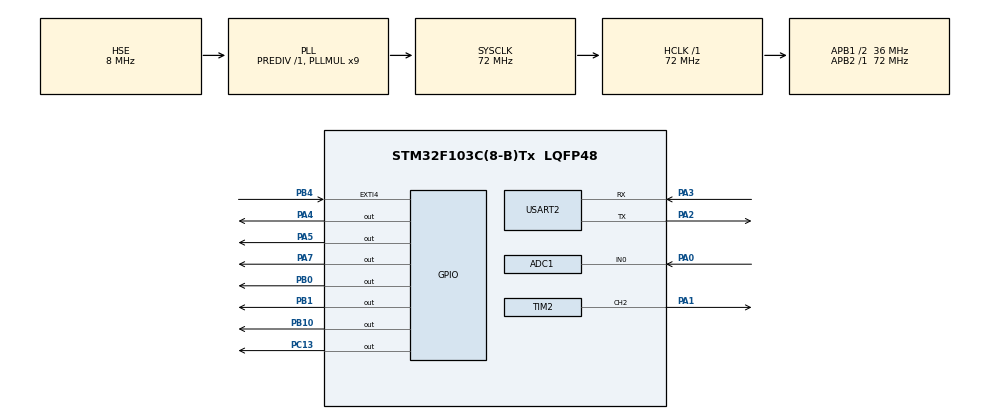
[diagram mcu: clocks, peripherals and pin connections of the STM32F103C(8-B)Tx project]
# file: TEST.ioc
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ADC1.Channel-1\#ChannelRegularConversion=ADC_CHANNEL_0
ADC1.NbrOfConversionFlag=1
ADC1.Rank-1\#ChannelRegularConversion=1
ADC1.SamplingTime-1\#ChannelRegularConversion=ADC_SAMPLETIME_13CYCLES_5
ADC1.master=1
Dma.ADC1.0.Direction=DMA_PERIPH_TO_MEMORY
Dma.ADC1.0.Instance=DMA1_Channel1
Dma.ADC1.0.MemDataAlignment=DMA_MDATAALIGN_HALFWORD
Dma.ADC1.0.MemInc=DMA_MINC_ENABLE
Dma.ADC1.0.Mode=DMA_NORMAL
Dma.ADC1.0.PeriphDataAlignment=DMA_PDATAALIGN_HALFWORD
Dma.ADC1.0.PeriphInc=DMA_PINC_DISABLE
Dma.ADC1.0.Priority=DMA_PRIORITY_HIGH
Dma.Request0=ADC1
Mcu.Family=STM32F1
Mcu.Name=STM32F103C(8-B)Tx
Mcu.Package=LQFP48
NVIC.DMA1_Channel1_IRQn=true\:0\:0\:false\:false\:true\:false\:true
NVIC.EXTI4_IRQn=true\:1\:0\:true\:false\:true\:true\:true
NVIC.PriorityGroup=NVIC_PRIORITYGROUP_2
NVIC.TIM3_IRQn=true\:0\:0\:false\:false\:true\:true\:true
NVIC.TIM4_IRQn=true\:1\:1\:true\:false\:true\:true\:true
PA0-WKUP.Signal=ADCx_IN0
PA1.GPIO_Speed=GPIO_SPEED_FREQ_LOW
PA1.Signal=S_TIM2_CH2
PA2.Mode=Asynchronous
PA2.Signal=USART2_TX
PA3.Mode=Asynchronous
PA3.Signal=USART2_RX
PA4.GPIO_Speed=GPIO_SPEED_FREQ_HIGH
PA4.Signal=GPIO_Output
PA5.GPIO_Speed=GPIO_SPEED_FREQ_HIGH
PA5.Signal=GPIO_Output
PA7.GPIO_Speed=GPIO_SPEED_FREQ_HIGH
PA7.Signal=GPIO_Output
PB0.GPIO_Speed=GPIO_SPEED_FREQ_HIGH
PB0.Signal=GPIO_Output
PB1.GPIO_Speed=GPIO_SPEED_FREQ_HIGH
PB1.Signal=GPIO_Output
PB10.GPIO_Speed=GPIO_SPEED_FREQ_HIGH
PB10.Signal=GPIO_Output
PB4.GPIO_PuPd=GPIO_PULLUP
PB4.Signal=GPXTI4
PC13-TAMPER-RTC.GPIO_PuPd=GPIO_NOPULL
PC13-TAMPER-RTC.Signal=GPIO_Output
PC14-OSC32_IN.Mode=LSE-External-Clock-Source
PC14-OSC32_IN.Signal=RCC_OSC32_IN
PC15-OSC32_OUT.Mode=LSE-External-Clock-Source
PC15-OSC32_OUT.Signal=RCC_OSC32_OUT
PD0-OSC_IN.Mode=HSE-External-Oscillator
PD0-OSC_IN.Signal=RCC_OSC_IN
PD1-OSC_OUT.Mode=HSE-External-Oscillator
PD1-OSC_OUT.Signal=RCC_OSC_OUT
ProjectManager.HeapSize=0x200
ProjectManager.StackSize=0x400
ProjectManager.TargetToolchain=MDK-ARM V5
RCC.ADCPresc=RCC_ADCPCLK2_DIV8
RCC.AHBFreq_Value=72000000
RCC.APB1CLKDivider=RCC_HCLK_DIV2
RCC.APB1Freq_Value=36000000
RCC.APB1TimFreq_Value=72000000
RCC.APB2Freq_Value=72000000
RCC.APB2TimFreq_Value=72000000
RCC.HCLKFreq_Value=72000000
RCC.PLLMUL=RCC_PLL_MUL9
RCC.PLLSourceVirtual=RCC_PLLSOURCE_HSE
RCC.RCC_MCOSource=RCC_MCO1SOURCE_PLLCLK
RCC.SYSCLKFreq_VALUE=72000000
RCC.SYSCLKSource=RCC_SYSCLKSOURCE_PLLCLK
RCC.USBFreq_Value=72000000
SH.ADCx_IN0.0=ADC1_IN0,IN0
SH.S_TIM2_CH2.0=TIM2_CH2,PWM Generation2 CH2
TIM2.Channel-PWM\ Generation2\ CH2=TIM_CHANNEL_2
TIM2.Period=1000
TIM2.Prescaler=71
TIM2.Pulse-PWM\ Generation2\ CH2=300
TIM3.AutoReloadPreload=TIM_AUTORELOAD_PRELOAD_ENABLE
TIM3.Period=1999
TIM3.Prescaler=71
TIM4.AutoReloadPreload=TIM_AUTORELOAD_PRELOAD_ENABLE
TIM4.Period=1999
TIM4.Prescaler=35999
USART2.VirtualMode=VM_ASYNC
VP_SYS_VS_ND.Mode=No_Debug
VP_TIM3_VS_ClockSourceINT.Mode=Internal
VP_TIM4_VS_ClockSourceINT.Mode=Internal
board=custom

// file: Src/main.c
/* USER CODE BEGIN Header */
/**
  ******************************************************************************
  * @file           : main.c
  * @brief          : Main program body
  ******************************************************************************
  * @attention
  *
  * <h2><center>&copy; Copyright (c) 2023 STMicroelectronics.
  * All rights reserved.</center></h2>
  *
  * This software component is licensed by ST under BSD 3-Clause license,
  * the "License"; You may not use this file except in compliance with the
  * License. You may obtain a copy of the License at:
  *                        opensource.org/licenses/BSD-3-Clause
  *
  ******************************************************************************
  */
/* USER CODE END Header */

#include "main.h"

/* USER CODE BEGIN Includes */
#include "stdio.h"
#include "string.h"
#include "lcd_driver.h"
#include "gui.h"
#include "delay.h"
#include "picture.h"
#include "qdtft_demo.h"
#include "bmp180.h"
/* USER CODE END Includes */

ADC_HandleTypeDef hadc1;
DMA_HandleTypeDef hdma_adc1;

TIM_HandleTypeDef htim2;
TIM_HandleTypeDef htim3;
TIM_HandleTypeDef htim4;

UART_HandleTypeDef huart2;

/* USER CODE BEGIN PV */
#define true 1
#define false 0
int BPM;                   // used to hold the pulse rate
int Signal;                // holds the incoming raw data
int IBI = 600;             // holds the time between beats, must be seeded!
unsigned char Pulse = false;     // true when pulse wave is high, false when it's low
unsigned char QS = false;        // becomes true when Arduoino finds a beat.
int rate[10];                    // array to hold last ten IBI values
unsigned long sampleCounter = 0;          // used to determine pulse timing
unsigned long lastBeatTime = 0;           // used to find IBI
int P =512;                      // used to find peak in pulse wave, seeded
int T = 512;                     // used to find trough in pulse wave, seeded
int thresh = 512;                // used to find instant moment of heart beat, seeded
int amp = 100;                   // used to hold amplitude of pulse waveform, seeded
int Num;
unsigned char firstBeat = true;        // used to seed rate array so we startup with reasonable BPM
unsigned char secondBeat = false;      // used to seed rate array so we startup with reasonable BPM
int count_record; // 记录下 跳了几次

unsigned int count_num = 0;
float count_wheel = 0.0;
float count_km = 0.0;
unsigned int sflag;
char space_str[5] = "  ";
char space_str1[6] = "m/s";
char space_str2[6] = "km";
char space_str4[3] = "pa";
char space_str5[3] = "m";

char space_str6[3] = "C"; //温度单位
int count_time = 0;
/* USER CODE END PV */

void SystemClock_Config(void);
static void MX_GPIO_Init(void);
static void MX_DMA_Init(void);
static void MX_ADC1_Init(void);
static void MX_TIM3_Init(void);
static void MX_USART2_UART_Init(void);
static void MX_TIM2_Init(void);
static void MX_TIM4_Init(void);
/* USER CODE BEGIN PFP */
void Redraw_Mainmenu(void);
/* Private function prototypes -----------------------------------------------*/
void sendDataToProcessing(char symbol, int dat );
#ifdef __GNUC__
  /* With GCC/RAISONANCE, small printf (option LD Linker->Libraries->Small printf
     set to 'Yes') calls __io_putchar() */
  #define PUTCHAR_PROTOTYPE int __io_putchar(int ch)
#else
  #define PUTCHAR_PROTOTYPE int fputc(int ch, FILE *f)
#endif /* __GNUC__ */

/* USER CODE END PFP */

/* USER CODE BEGIN 0 */
void Redraw_Mainmenu(void)
{

	Lcd_Clear(GRAY0);

	Gui_DrawFont_GBK16(16,0,BLUE,WHITE,"电子技术");
	Gui_DrawFont_GBK16(16,20,RED,WHITE,"液晶测试程序");

	DisplayButtonUp(15,38,113,58); //x1,y1,x2,y2
	Gui_DrawFont_GBK16(16,40,YELLOW,WHITE,"颜色填充测试");

	DisplayButtonUp(15,68,113,88); //x1,y1,x2,y2
	Gui_DrawFont_GBK16(16,70,BLUE,WHITE,"文字显示测试");

	DisplayButtonUp(15,98,113,118); //x1,y1,x2,y2
	Gui_DrawFont_GBK16(16,100,RED,WHITE,"图片显示测试");
	//delay_ms(1500);
}
/* USER CODE END 0 */

int main(void)
{
  /* USER CODE BEGIN 1 */
	unsigned char ID = 0;
  /* USER CODE END 1 */

  /* MCU Configuration--------------------------------------------------------*/

  /* Reset of all peripherals, Initializes the Flash interface and the Systick. */
  HAL_Init();

  /* Configure the system clock */
  SystemClock_Config();

  /* Initialize all configured peripherals */
  MX_GPIO_Init();
  MX_DMA_Init();
  MX_ADC1_Init();
  MX_TIM3_Init();
  MX_USART2_UART_Init();
  MX_TIM2_Init();
  MX_TIM4_Init();
  /* USER CODE BEGIN 2 */
	HAL_TIM_Base_Start_IT(&htim3);
	HAL_TIM_Base_Start_IT(&htim4);
	SystemInit ();
	delay_init(72);//Delay init.
	Lcd_Init();
	LCD_LED_SET;//通过IO控制背光亮
	HAL_TIM_PWM_Start(&htim2,TIM_CHANNEL_2);

	BMP_Init();
	BMP_ReadCalibrationData();
	int count =0;
  /* USER CODE END 2 */

  /* Infinite loop */
  /* USER CODE BEGIN WHILE */
  while (1)
  {
		ID = BMP_ReadOneByte(0xd0);
		BMP_UncompemstatedToTrue();
		char str4[10];
		sprintf(str4,"%ld",bmp180.p);
		Gui_DrawFont_GBK16(0,60,YELLOW,BLACK,"pre ");
		Gui_DrawFont_GBK16(64,60,RED,WHITE,strcat(str4,space_str4));

		char str5[10];
		sprintf(str5,"%.1f",bmp180.altitude);
		Gui_DrawFont_GBK16(0,80,YELLOW,BLACK,"alti ");
		Gui_DrawFont_GBK16(64,80,RED,WHITE,strcat(str5,space_str5));

		char str6[10];
		sprintf(str6,"%.1f",bmp180.Temp/10.0);
		Gui_DrawFont_GBK16(0,100,YELLOW,BLACK,"temp ");
		Gui_DrawFont_GBK16(64,100,RED,WHITE,strcat(str6,space_str6));

		//	sendDataToProcessing('S', Signal);     // send Processing the raw Pulse Sensor data
		if (QS == true)
		{

				char str[10];
				char str1[10];

				count = count+1;
				sprintf(str,"%d",BPM);
				sprintf(str1,"%d",count);
			//	Gui_DrawFont_GBK16(16,0,BLUE,WHITE,str);
			//	Gui_DrawFont_GBK16(16,20,RED,WHITE,str1);
				Gui_DrawFont_GBK16(0,0,YELLOW,BLACK,"BPM ");
				Gui_DrawFont_GBK16(64,0,RED,WHITE,strcat(str,space_str));
			//	Gui_DrawFont_GBK16(64,20,RED,WHITE,strcat(str1,space_str));
			//sendDataToProcessing('B',BPM);   // send heart rate with a 'B' prefix
			//	sendDataToProcessing('Q',IBI);   // send time between beats with a 'Q' prefix
				QS = false;                      // reset the Quantified Self flag for next time
		}
		char str2[10];
		sprintf(str2,"%.1f",count_wheel);
		Gui_DrawFont_GBK16(0,20,YELLOW,BLACK,"speed ");
		Gui_DrawFont_GBK16(64,20,RED,WHITE,strcat(str2,space_str1));

		char str3[10];
		sprintf(str3,"%.2f",count_km);
		Gui_DrawFont_GBK16(0,40,YELLOW,BLACK,"mile ");
		Gui_DrawFont_GBK16(64,40,RED,WHITE,strcat(str3,space_str2));

    /* USER CODE END WHILE */

  }
}

void SystemClock_Config(void)
{
  RCC_OscInitTypeDef RCC_OscInitStruct = {0};
  RCC_ClkInitTypeDef RCC_ClkInitStruct = {0};
  RCC_PeriphCLKInitTypeDef PeriphClkInit = {0};

  /** Initializes the CPU, AHB and APB busses clocks
  */
  RCC_OscInitStruct.OscillatorType = RCC_OSCILLATORTYPE_HSE;
  RCC_OscInitStruct.HSEState = RCC_HSE_ON;
  RCC_OscInitStruct.HSEPredivValue = RCC_HSE_PREDIV_DIV1;
  RCC_OscInitStruct.HSIState = RCC_HSI_ON;
  RCC_OscInitStruct.PLL.PLLState = RCC_PLL_ON;
  RCC_OscInitStruct.PLL.PLLSource = RCC_PLLSOURCE_HSE;
  RCC_OscInitStruct.PLL.PLLMUL = RCC_PLL_MUL9;
  if (HAL_RCC_OscConfig(&RCC_OscInitStruct) != HAL_OK)
  {
    Error_Handler();
  }
  /** Initializes the CPU, AHB and APB busses clocks
  */
  RCC_ClkInitStruct.ClockType = RCC_CLOCKTYPE_HCLK|RCC_CLOCKTYPE_SYSCLK
                              |RCC_CLOCKTYPE_PCLK1|RCC_CLOCKTYPE_PCLK2;
  RCC_ClkInitStruct.SYSCLKSource = RCC_SYSCLKSOURCE_PLLCLK;
  RCC_ClkInitStruct.AHBCLKDivider = RCC_SYSCLK_DIV1;
  RCC_ClkInitStruct.APB1CLKDivider = RCC_HCLK_DIV2;
  RCC_ClkInitStruct.APB2CLKDivider = RCC_HCLK_DIV1;

  if (HAL_RCC_ClockConfig(&RCC_ClkInitStruct, FLASH_LATENCY_2) != HAL_OK)
  {
    Error_Handler();
  }
  PeriphClkInit.PeriphClockSelection = RCC_PERIPHCLK_ADC;
  PeriphClkInit.AdcClockSelection = RCC_ADCPCLK2_DIV8;
  if (HAL_RCCEx_PeriphCLKConfig(&PeriphClkInit) != HAL_OK)
  {
    Error_Handler();
  }
}

static void MX_ADC1_Init(void)
{

  ADC_ChannelConfTypeDef sConfig = {0};

  /** Common config
  */
  hadc1.Instance = ADC1;
  hadc1.Init.ScanConvMode = ADC_SCAN_DISABLE;
  hadc1.Init.ContinuousConvMode = DISABLE;
  hadc1.Init.DiscontinuousConvMode = DISABLE;
  hadc1.Init.ExternalTrigConv = ADC_SOFTWARE_START;
  hadc1.Init.DataAlign = ADC_DATAALIGN_RIGHT;
  hadc1.Init.NbrOfConversion = 1;
  if (HAL_ADC_Init(&hadc1) != HAL_OK)
  {
    Error_Handler();
  }
  /** Configure Regular Channel
  */
  sConfig.Channel = ADC_CHANNEL_0;
  sConfig.Rank = ADC_REGULAR_RANK_1;
  sConfig.SamplingTime = ADC_SAMPLETIME_13CYCLES_5;
  if (HAL_ADC_ConfigChannel(&hadc1, &sConfig) != HAL_OK)
  {
    Error_Handler();
  }

}

static void MX_TIM2_Init(void)
{

  TIM_MasterConfigTypeDef sMasterConfig = {0};
  TIM_OC_InitTypeDef sConfigOC = {0};

  htim2.Instance = TIM2;
  htim2.Init.Prescaler = 71;
  htim2.Init.CounterMode = TIM_COUNTERMODE_UP;
  htim2.Init.Period = 1000;
  htim2.Init.ClockDivision = TIM_CLOCKDIVISION_DIV1;
  htim2.Init.AutoReloadPreload = TIM_AUTORELOAD_PRELOAD_DISABLE;
  if (HAL_TIM_PWM_Init(&htim2) != HAL_OK)
  {
    Error_Handler();
  }
  sMasterConfig.MasterOutputTrigger = TIM_TRGO_RESET;
  sMasterConfig.MasterSlaveMode = TIM_MASTERSLAVEMODE_DISABLE;
  if (HAL_TIMEx_MasterConfigSynchronization(&htim2, &sMasterConfig) != HAL_OK)
  {
    Error_Handler();
  }
  sConfigOC.OCMode = TIM_OCMODE_PWM1; // 采用的是PWM1模式
  sConfigOC.Pulse = 300;
  sConfigOC.OCPolarity = TIM_OCPOLARITY_HIGH; //设置起始为高电平
  sConfigOC.OCFastMode = TIM_OCFAST_DISABLE;
  if (HAL_TIM_PWM_ConfigChannel(&htim2, &sConfigOC, TIM_CHANNEL_2) != HAL_OK)
  {
    Error_Handler();
  }
  HAL_TIM_MspPostInit(&htim2);

}

static void MX_TIM3_Init(void)
{

  TIM_ClockConfigTypeDef sClockSourceConfig = {0};
  TIM_MasterConfigTypeDef sMasterConfig = {0};

  htim3.Instance = TIM3;
  htim3.Init.Prescaler = 71;
  htim3.Init.CounterMode = TIM_COUNTERMODE_UP;
  htim3.Init.Period = 1999;
  htim3.Init.ClockDivision = TIM_CLOCKDIVISION_DIV1;
  htim3.Init.AutoReloadPreload = TIM_AUTORELOAD_PRELOAD_ENABLE;
  if (HAL_TIM_Base_Init(&htim3) != HAL_OK)
  {
    Error_Handler();
  }
  sClockSourceConfig.ClockSource = TIM_CLOCKSOURCE_INTERNAL;
  if (HAL_TIM_ConfigClockSource(&htim3, &sClockSourceConfig) != HAL_OK)
  {
    Error_Handler();
  }
  sMasterConfig.MasterOutputTrigger = TIM_TRGO_RESET;
  sMasterConfig.MasterSlaveMode = TIM_MASTERSLAVEMODE_DISABLE;
  if (HAL_TIMEx_MasterConfigSynchronization(&htim3, &sMasterConfig) != HAL_OK)
  {
    Error_Handler();
  }

}

static void MX_TIM4_Init(void)
{

  TIM_ClockConfigTypeDef sClockSourceConfig = {0};
  TIM_MasterConfigTypeDef sMasterConfig = {0};

  htim4.Instance = TIM4;
  htim4.Init.Prescaler = 35999;
  htim4.Init.CounterMode = TIM_COUNTERMODE_UP;
  htim4.Init.Period = 1999;
  htim4.Init.ClockDivision = TIM_CLOCKDIVISION_DIV1;
  htim4.Init.AutoReloadPreload = TIM_AUTORELOAD_PRELOAD_ENABLE;
  if (HAL_TIM_Base_Init(&htim4) != HAL_OK)
  {
    Error_Handler();
  }
  sClockSourceConfig.ClockSource = TIM_CLOCKSOURCE_INTERNAL;
  if (HAL_TIM_ConfigClockSource(&htim4, &sClockSourceConfig) != HAL_OK)
  {
    Error_Handler();
  }
  sMasterConfig.MasterOutputTrigger = TIM_TRGO_RESET;
  sMasterConfig.MasterSlaveMode = TIM_MASTERSLAVEMODE_DISABLE;
  if (HAL_TIMEx_MasterConfigSynchronization(&htim4, &sMasterConfig) != HAL_OK)
  {
    Error_Handler();
  }

}

static void MX_USART2_UART_Init(void)
{

  huart2.Instance = USART2;
  huart2.Init.BaudRate = 115200;
  huart2.Init.WordLength = UART_WORDLENGTH_8B;
  huart2.Init.StopBits = UART_STOPBITS_1;
  huart2.Init.Parity = UART_PARITY_NONE;
  huart2.Init.Mode = UART_MODE_TX_RX;
  huart2.Init.HwFlowCtl = UART_HWCONTROL_NONE;
  huart2.Init.OverSampling = UART_OVERSAMPLING_16;
  if (HAL_UART_Init(&huart2) != HAL_OK)
  {
    Error_Handler();
  }

}

static void MX_DMA_Init(void)
{

  /* DMA controller clock enable */
  __HAL_RCC_DMA1_CLK_ENABLE();

  /* DMA interrupt init */
  /* DMA1_Channel1_IRQn interrupt configuration */
  HAL_NVIC_SetPriority(DMA1_Channel1_IRQn, 0, 0);
  HAL_NVIC_EnableIRQ(DMA1_Channel1_IRQn);

}

static void MX_GPIO_Init(void)
{
  GPIO_InitTypeDef GPIO_InitStruct = {0};

  /* GPIO Ports Clock Enable */
  __HAL_RCC_GPIOC_CLK_ENABLE();
  __HAL_RCC_GPIOD_CLK_ENABLE();
  __HAL_RCC_GPIOA_CLK_ENABLE();
  __HAL_RCC_GPIOB_CLK_ENABLE();

  /*Configure GPIO pin Output Level */
  HAL_GPIO_WritePin(GPIOC, GPIO_PIN_13, GPIO_PIN_RESET);

  /*Configure GPIO pin Output Level */
  HAL_GPIO_WritePin(GPIOA, GPIO_PIN_4|GPIO_PIN_5|GPIO_PIN_7, GPIO_PIN_RESET);

  /*Configure GPIO pin Output Level */
  HAL_GPIO_WritePin(GPIOB, GPIO_PIN_0|GPIO_PIN_1|GPIO_PIN_10, GPIO_PIN_RESET);

  /*Configure GPIO pin : PC13 */
  GPIO_InitStruct.Pin = GPIO_PIN_13;
  GPIO_InitStruct.Mode = GPIO_MODE_OUTPUT_PP;
  GPIO_InitStruct.Pull = GPIO_NOPULL;
  GPIO_InitStruct.Speed = GPIO_SPEED_FREQ_LOW;
  HAL_GPIO_Init(GPIOC, &GPIO_InitStruct);

  /*Configure GPIO pins : PA4 PA5 PA7 */
  GPIO_InitStruct.Pin = GPIO_PIN_4|GPIO_PIN_5|GPIO_PIN_7;
  GPIO_InitStruct.Mode = GPIO_MODE_OUTPUT_PP;
  GPIO_InitStruct.Pull = GPIO_NOPULL;
  GPIO_InitStruct.Speed = GPIO_SPEED_FREQ_HIGH;
  HAL_GPIO_Init(GPIOA, &GPIO_InitStruct);

  /*Configure GPIO pins : PB0 PB1 PB10 */
  GPIO_InitStruct.Pin = GPIO_PIN_0|GPIO_PIN_1|GPIO_PIN_10;
  GPIO_InitStruct.Mode = GPIO_MODE_OUTPUT_PP;
  GPIO_InitStruct.Pull = GPIO_NOPULL;
  GPIO_InitStruct.Speed = GPIO_SPEED_FREQ_HIGH;
  HAL_GPIO_Init(GPIOB, &GPIO_InitStruct);

  /*Configure GPIO pin : PB4 */
  GPIO_InitStruct.Pin = GPIO_PIN_4;
  GPIO_InitStruct.Mode = GPIO_MODE_IT_RISING;
  GPIO_InitStruct.Pull = GPIO_PULLUP;
  HAL_GPIO_Init(GPIOB, &GPIO_InitStruct);

  /* EXTI interrupt init*/
  HAL_NVIC_SetPriority(EXTI4_IRQn, 1, 0);
  HAL_NVIC_EnableIRQ(EXTI4_IRQn);

}

/* USER CODE BEGIN 4 */
/**
  * @brief  Retargets the C library printf function to the USART.
  * @param  None
  * @retval None
  */

void HAL_GPIO_EXTI_Callback(uint16_t GPIO_Pin)
{
  if (GPIO_Pin == GPIO_PIN_4) {
			count_num = count_num+1;

  }
}

PUTCHAR_PROTOTYPE
{
  /* Place your implementation of fputc here */
  /* e.g. write a character to the EVAL_COM1 and Loop until the end of transmission */
  HAL_UART_Transmit(&huart2, (uint8_t *)&ch, 1, 0xFFFF);

  return ch;
}

void HAL_TIM_PeriodElapsedCallback(TIM_HandleTypeDef *htim)
{
	unsigned int runningTotal;

	if(htim->Instance==htim3.Instance)
	{
		Signal=HAL_ADC_GetValue(&hadc1)>>2;					 // read the Pulse Senso 获取的adc值除以4
		sampleCounter += 2;                         // keep track of the time in mS with this variable
		Num = sampleCounter - lastBeatTime;       // monitor the time since the last beat to avoid noise
		HAL_ADC_Start(&hadc1);									//restart ADC conversion

		//  find the peak and trough of the pulse wave
  if(Signal < thresh && Num > (IBI/5)*3){       // avoid dichrotic noise by waiting 3/5 of last IBI
    if (Signal < T){                        // T is the trough
      T = Signal;                         // keep track of lowest point in pulse wave
    }
  }

  if(Signal > thresh && Signal > P){          // thresh condition helps avoid noise
    P = Signal;                             // P is the peak
  }                                        // keep track of highest point in pulse wave

  //  NOW IT'S TIME TO LOOK FOR THE HEART BEAT
  // signal surges up in value every time there is a pulse
	// 这里之所以说要大于250 是因为当你小于250的时候  心率为240时
	// 而最大心率一般为 220-年龄   或者210-0.8倍的年龄
	// NUM是这次采样时间-上次心跳发生的时间
  if (Num > 250){                                   // avoid high frequency noise
    if ( (Signal > thresh) && (Pulse == false) && (Num > (IBI/5)*3) ){
      Pulse = true;                               // set the Pulse flag when we think there is a pulse
																									// 有脉冲来了
			HAL_GPIO_WritePin(GPIOC,GPIO_PIN_13,GPIO_PIN_RESET);                // turn on pin 13 LED
      IBI = sampleCounter - lastBeatTime;         // measure time between beats in mS
      lastBeatTime = sampleCounter;               // keep track of time for next pulse

      if(secondBeat){                        // if this is the second beat, if secondBeat == TRUE
       // secondBeat = false;                  // clear secondBeat flag
				count_record = count_record + 1;   // 记录下心跳发生的次数 存储最近十次的心跳 不足10次的拿最近一次的填充
        for(int j=count_record; j<10; j++){             // seed the running total to get a realisitic BPM at startup
          rate[j] = IBI;
        }
				if(count_record == 10)
					count_record = 0;
      }

      if(firstBeat){                              // if it's the first time we found a beat, if firstBeat == TRUE
        firstBeat = false;                       // clear firstBeat flag
        secondBeat = true;                       // set the second beat flag
																								//不对 第一次心跳做记录
 //       sei();                               // enable interrupts again
        //return;                              // IBI value is unreliable so discard it
      } else{

      // keep a running total of the last 10 IBI values
      runningTotal = 0;                  // clear the runningTotal variable

      for(int i=0; i<=8; i++){                // shift data in the rate array
        rate[i] = rate[i+1];                  // and drop the oldest IBI value
        runningTotal += rate[i];              // add up the 9 oldest IBI values
      }

      rate[9] = IBI;                          // add the latest IBI to the rate array
      runningTotal += rate[9];                // add the latest IBI to runningTotal
      runningTotal /= 10;                     // average the last 10 IBI values
      BPM = 60000/runningTotal;               // how many beats can fit into a minute? that's BPM!

      QS = true;                              // set Quantified Self flag
      // QS FLAG IS NOT CLEARED INSIDE THIS ISR
		}
    }
  }

  if (Signal < thresh && Pulse == true){   // when the values are going down, the beat is over
		HAL_GPIO_WritePin(GPIOC,GPIO_PIN_13,GPIO_PIN_SET);            // turn off pin 13 LED
    Pulse = false;                         // reset the Pulse flag so we can do it again
    amp = P - T;                           // get amplitude of the pulse wave
    thresh = amp/2 + T;                    // set thresh at 50% of the amplitude
    P = thresh;                            // reset these for next time
    T = thresh;
  }

  if (Num > 2500){                           // if 2.5 seconds go by without a beat
    thresh = 512;                          // set thresh default
    P = 512;                               // set P default
    T = 512;                               // set T default
    lastBeatTime = sampleCounter;          // bring the lastBeatTime up to date
    firstBeat = true;                      // set these to avoid noise
    secondBeat = false;                    // when we get the heartbeat back
  }

	}
	else if(htim->Instance==htim4.Instance)
	{
		count_time = count_time + 1;
		count_wheel = count_num/135.0;
		sflag = sflag  +1; //改变速度的标志位
		count_km = count_km+count_wheel*count_time/1000;

		count_num = 0;
		if(sflag >=6)
		{
		__HAL_TIM_SET_COMPARE(&htim2, TIM_CHANNEL_2, 500);

		}

		if(sflag >=12)
		{
		__HAL_TIM_SET_COMPARE(&htim2, TIM_CHANNEL_2, 200);
		}

		if(sflag >=18)
		{
		__HAL_TIM_SET_COMPARE(&htim2, TIM_CHANNEL_2, 300);
		sflag = 0;
		}

	}

}

void sendDataToProcessing(char symbol, int dat )
{
    putchar(symbol);                // symbol prefix tells Processing what type of data is coming
		printf("%d\r\n",dat);						// the data to send culminating in a carriage return
}
/* USER CODE END 4 */

void Error_Handler(void)
{
}

/************************ (C) COPYRIGHT STMicroelectronics *****END OF FILE****/
